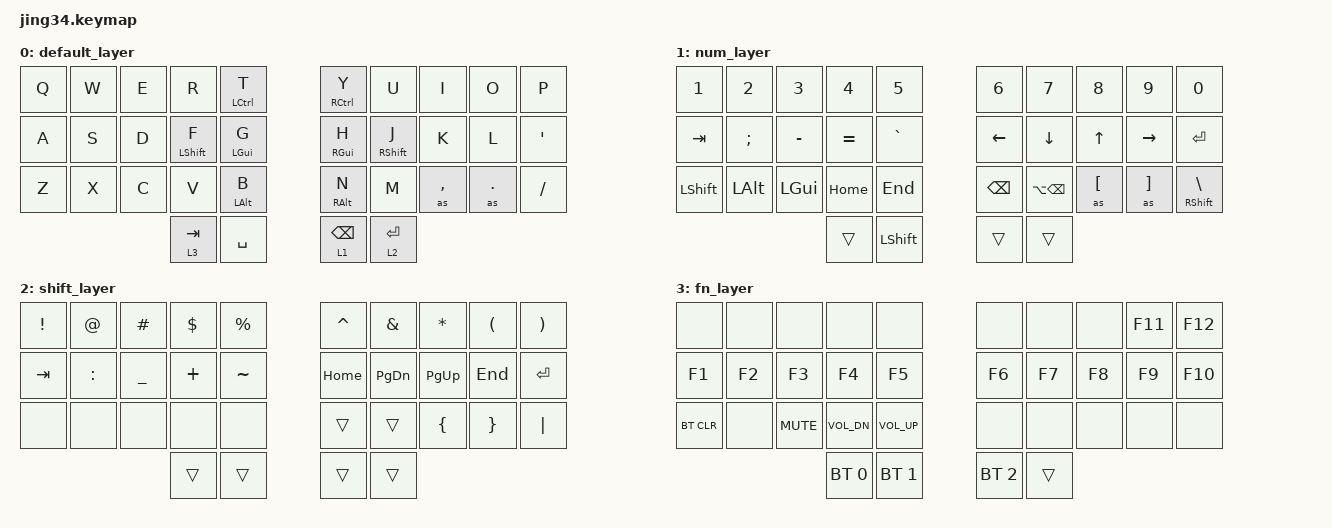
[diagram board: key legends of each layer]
// Copyright (c) 2022 The ZMK Contributors
// SPDX-License-Identifier: MIT

#include <behaviors.dtsi>
#include <dt-bindings/zmk/keys.h>
#include <dt-bindings/zmk/bt.h>

// Home row mods macro
#define HRML(k1,k2,k3) &ht LGUI k1  &ht LALT k2  &ht LCTRL k3 
#define HRMR(k1,k2,k3) &ht RCTRL k1 &ht LALT k2  &ht RGUI k3  

/ {
    behaviors {
        ht: hold_tap {
            compatible = "zmk,behavior-hold-tap";
            #binding-cells = <2>;
            flavor = "tap-preferred";
            tapping-term-ms = <250>;
            quick-tap-ms = <220>;
            require-prior-idle-ms = <125>;
            bindings = <&kp>, <&kp>;
        };
        mt: mod_tap {

            #binding-cells = <2>;
            tapping-term-ms = <350>;
            quick-tap-ms = <120>;
            require-prior-idle-ms = <125>;
            bindings = <&kp>, <&kp>;
        };
        as_ht: autoshift_hold_tap {
            compatible = "zmk,behavior-hold-tap";
            #binding-cells = <2>;
            tapping-term-ms = <200>;
            bindings = <&shifted>, <&kp>;
            flavor = "tap-preferred";
        };
        combos {
            compatible = "zmk,combos";
            combo_esc {
                timeout-ms = <50>;
                key-positions = <0 1>;
                layers = <0>;
                bindings = <&kp ESC>;
            };
            combo_del {
                timeout-ms = <50>;
                key-positions = <8 9>;
                bindings = <&kp DEL>;
            };
            combo_reset {
                timeout-ms = <50>;
                key-positions = <0 9>;
                layers = <3>;
                bindings = <&sys_reset>;
            };
            combo_boot {
                timeout-ms = <50>;
                key-positions = <5 20>;
                layers = <2>;
                bindings = <&bootloader>;
            };
            combo_caps_word {
                timeout-ms = <50>;
                key-positions = <13 16>;
                bindings = <&caps_word>;
            };
            combo_tilde {
                timeout-ms = <50>;
                key-positions = <0 1>;
                layers = <1>;
                bindings = <&kp GRAVE>;
            };
            combo_lparen {
                timeout-ms = <50>;
                key-positions = <12 13>;
                layers = <0>;
                bindings = <&kp LPAR>;
            };
            combo_rparen {
                timeout-ms = <50>;
                key-positions = <16 17>;
                layers = <0>;
                bindings = <&kp RPAR>;
            };
	   combo_lbkt {
                timeout-ms = <50>;
		key-positions = <11 12>;
                layers = <0>;
		bindings = <&kp LBKT>;
	    };
	   combo_rbkt {
		timeout-ms = <50>;
		key-positions = <17 18>;
                layers = <0>;
		bindings = <&kp RBKT>;
            };
	   combo_lbrc {
		timeout-ms = <50>;
		key-positions = <11 12>;
                layers = <1>;
		bindings = <&kp LBRC>;
            };
           combo_rbrc {
		timeout-ms = <50>;
		key-positions = <17 18>;
                layers = <1>;
		bindings = <&kp RBRC>;
            };
	   combo_colon {
		timeout-ms = <50>;
		key-positions = <3 13>;
		layers = <0>;
		bindings = <&kp COLON>;
	    };
	   combo_underscore {
		timeout-ms = <50>;
		key-positions = <31 32>;
		layers = <0>;
		bindings = <&kp UNDERSCORE>;
	    };
        };
    };

    macros {
    shifted: macro_shifted_kp {
      #binding-cells = <1>;
      compatible = "zmk,behavior-macro-one-param";
      bindings =
        <&macro_press &kp LSHFT>,
        <&macro_param_1to1 &macro_tap &kp MACRO_PLACEHOLDER>,
        <&macro_release &kp LSHFT>;
    };

    as: autoshift {
      compatible = "zmk,behavior-macro-one-param";
      #binding-cells = <1>;
      bindings =
        <&macro_press>,
        <&macro_param_1to1>,
        <&macro_param_1to2>,
        <&as_ht MACRO_PLACEHOLDER MACRO_PLACEHOLDER>,
        <&macro_pause_for_release>,
        <&macro_release>,
        <&macro_param_1to1>,
        <&macro_param_1to2>,
        <&as_ht MACRO_PLACEHOLDER MACRO_PLACEHOLDER>;
    };
  };

    keymap {
        compatible = "zmk,keymap";
        default_layer {
            bindings = <
        //╭──────────┬──────────┬──────────┬──────────┬──────────╮      ╭──────────┬──────────┬──────────┬──────────┬──────────╮
        //│  Q       │  W       │  E       │  R       │  T       │      │  Y       │  U       │  I       │  O       │   P      │
            &kp Q      &kp W      &kp E      &kp R    &ht LCTRL T       &ht RCTRL Y      &kp U      &kp I      &kp O      &kp P
        //├──────────┼──────────┼──────────┼──────────┼──────────┤      ├──────────┼──────────┼──────────┼──────────┼──────────┤
        //│  A       │  S       │  D       │  F       │  G       │      │  H       │  J       │  K       │  L       │ ' "      │
            &kp A       &kp S       &kp D  &ht LSHFT F &ht LGUI G        &ht RGUI H  &ht RSHFT J &kp K     &kp L      &kp SQT
        //├──────────┼──────────┼──────────┼──────────┼──────────┤      ├──────────┼──────────┼──────────┼──────────┼──────────┤
        //│  Z       │  X       │  C       │  V       │  B       │      │  N       │   M      │ , <      │ . >      │ / ?      │
          &kp Z       &kp X      &kp C      &kp V    &ht LALT B        &ht RALT N   &kp M     &as COMMA    &as DOT     &kp FSLH
        //╰──────────┴──────────┴──────────┼──────────┼──────────┤      ├──────────┼──────────┼──────────┴──────────┴──────────╯
                                            &lt 3 TAB  &kp SPACE       &lt 1 BSPC  &lt 2 RET
        //                                 ╰──────────┴──────────╯      ╰──────────┴──────────╯
            >;
        };

        num_layer {
            bindings = <
        //╭──────────┬──────────┬──────────┬──────────┬──────────╮   ╭──────────┬──────────┬──────────┬──────────┬──────────╮
        //│  1 !     │  2 @     │  3 #     │  4 $     │  5 %     │   │  6 ^     │  7 &     │  8 *     │  9 (     │  0 )     │
            &kp N1     &kp N2     &kp N3     &kp N4     &kp N5         &kp N6     &kp N7     &kp N8     &kp N9     &kp N0    
        //├──────────┼──────────┼──────────┼──────────┼──────────┤   ├──────────┼──────────┼──────────┼──────────┼──────────┤
        //│          │  : ;     │   - _    │  = +     │    ` ~   │   │   <      │    v     │  ^       │    >     │          │
            &kp TAB    &kp SEMI  &kp MINUS   &kp EQUAL  &kp GRAVE         &kp LEFT   &kp DOWN   &kp UP     &kp RIGHT  &kp RET
        //├──────────┼──────────┼──────────┼──────────┼──────────┤   ├──────────┼──────────┼──────────┼──────────┼──────────┤
        //│          │          │          │          │          │   │          │          │    [ {   │   ] }    │    \ |   │
            &kp LSHIFT &kp LALT   &kp LGUI    &kp HOME   &kp END      &kp BSPC   &kp LA(BSPC) &as LBKT  &as RBKT  &mt RSHFT BSLH
        //╰──────────┴──────────┴──────────┼──────────┼──────────┤   ├──────────┼──────────┼──────────┴──────────┴──────────╯
                                             &trans     &kp LSHIFT      &trans     &trans
        //                                 ╰──────────┴──────────╯   ╰──────────┴──────────╯
            >;
        };

	shift_layer {
            bindings = <
        //╭──────────┬──────────┬──────────┬──────────┬──────────╮   ╭──────────┬──────────┬──────────┬──────────┬──────────╮
        //│    !     │    @     │     #    │     $    │    %     │   │     ^    │     &    │     *    │     (    │  )       │
            &kp EXCL      &kp AT   &kp POUND  &kp DLLR  &kp PRCNT     &kp CARET    &kp AMPS   &kp STAR     &kp LPAR  &kp RPAR
        //├──────────┼──────────┼──────────┼──────────┼──────────┤   ├──────────┼──────────┼──────────┼──────────┼──────────┤
        //│  TAB     │  :       │     _    │     +    │     ~     │   │          │          │          │          │  RET     │
            &kp TAB   &kp COLON   &kp UNDER  &kp PLUS   &kp TILDE           &kp HOME  &kp PG_DN &kp PG_UP   &kp END   &kp RET
        //├──────────┼──────────┼──────────┼──────────┼──────────┤   ├──────────┼──────────┼──────────┼──────────┼──────────┤
        //│          │          │          │   PG_DN  │          │   │          │          │          │          │          │
            &none      &none      &none     &none       &none          &trans     &trans     &kp LBRC  &kp RBRC     &kp PIPE
        //╰──────────┴──────────┴──────────┼──────────┼──────────┤   ├──────────┼──────────┼──────────┴──────────┴──────────╯
                                             &trans     &trans         &trans     &trans
        //                                 ╰──────────┴──────────╯   ╰──────────┴──────────╯
            >;
        };
        fn_layer {
            bindings = <
        //╭──────────┬──────────┬──────────┬──────────┬──────────╮   ╭──────────┬──────────┬──────────┬──────────┬──────────╮
        //│          │          │          │          │          │   │          │          │          │  F11     │  F12     │
             &none      &none       &none     &none    &none            &none      &none      &none      &kp F11    &kp F12
        //├──────────┼──────────┼──────────┼──────────┼──────────┤   ├──────────┼──────────┼──────────┼──────────┼──────────┤
        //│  F1      │  F2      │  F3      │  F4      │  F5      │   │  F6      │  F7      │  F8      │  F9      │  F10     │
            &kp F1     &kp F2    &kp F3     &kp F4     &kp F5         &kp F6       &kp F7    &kp F8    &kp F9     &kp F10  
        //├──────────┼──────────┼──────────┼──────────┼──────────┤   ├──────────┼──────────┼──────────┼──────────┼──────────┤
        //│          │          │          │          │          │   │          │          │          │          │          │
           &bt BT_CLR   &none      &kp C_MUTE    &kp C_VOL_DN &kp C_VOL_UP    &none      &none      &none      &none      &none 
        //╰──────────┴──────────┴──────────┼──────────┼──────────┤   ├──────────┼──────────┼──────────┴──────────┴──────────╯
                                           &bt BT_SEL 0 &bt BT_SEL 1  &bt BT_SEL 2  &trans
        //                                 ╰──────────┴──────────╯   ╰──────────┴──────────╯
            >;
        };

        

    };
   };
